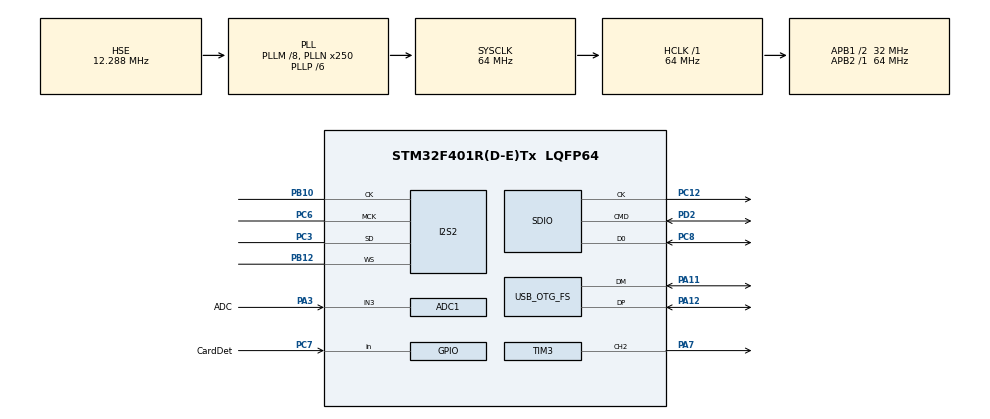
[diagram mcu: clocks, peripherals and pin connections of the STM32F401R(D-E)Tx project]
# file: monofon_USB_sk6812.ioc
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ADC1.Channel-0\#ChannelRegularConversion=ADC_CHANNEL_3
ADC1.ContinuousConvMode=ENABLE
ADC1.NbrOfConversionFlag=1
ADC1.Rank-0\#ChannelRegularConversion=1
ADC1.SamplingTime-0\#ChannelRegularConversion=ADC_SAMPLETIME_3CYCLES
ADC1.master=1
Dma.Request0=SPI2_TX
Dma.Request1=TIM3_CH2
Dma.SPI2_TX.0.Direction=DMA_MEMORY_TO_PERIPH
Dma.SPI2_TX.0.FIFOMode=DMA_FIFOMODE_ENABLE
Dma.SPI2_TX.0.FIFOThreshold=DMA_FIFO_THRESHOLD_FULL
Dma.SPI2_TX.0.Instance=DMA1_Stream4
Dma.SPI2_TX.0.MemBurst=DMA_MBURST_INC8
Dma.SPI2_TX.0.MemDataAlignment=DMA_MDATAALIGN_HALFWORD
Dma.SPI2_TX.0.MemInc=DMA_MINC_ENABLE
Dma.SPI2_TX.0.Mode=DMA_NORMAL
Dma.SPI2_TX.0.PeriphBurst=DMA_PBURST_SINGLE
Dma.SPI2_TX.0.PeriphDataAlignment=DMA_PDATAALIGN_HALFWORD
Dma.SPI2_TX.0.PeriphInc=DMA_PINC_DISABLE
Dma.SPI2_TX.0.Priority=DMA_PRIORITY_MEDIUM
Dma.TIM3_CH2.1.Direction=DMA_MEMORY_TO_PERIPH
Dma.TIM3_CH2.1.FIFOMode=DMA_FIFOMODE_DISABLE
Dma.TIM3_CH2.1.Instance=DMA1_Stream5
Dma.TIM3_CH2.1.MemDataAlignment=DMA_MDATAALIGN_HALFWORD
Dma.TIM3_CH2.1.MemInc=DMA_MINC_ENABLE
Dma.TIM3_CH2.1.Mode=DMA_NORMAL
Dma.TIM3_CH2.1.PeriphDataAlignment=DMA_PDATAALIGN_HALFWORD
Dma.TIM3_CH2.1.PeriphInc=DMA_PINC_DISABLE
Dma.TIM3_CH2.1.Priority=DMA_PRIORITY_LOW
FATFS.BSP.number=1
FATFS._CODE_PAGE=855
FATFS._USE_FIND=1
FATFS._USE_LFN=1
FATFS0.BSP.STBoard=false
FATFS0.BSP.api=Unknown
FATFS0.BSP.i2caddr=0
FATFS0.BSP.instance=PC7
FATFS0.BSP.ip=GPIO
FATFS0.BSP.mode=Input
FATFS0.BSP.name=Detect_SDIO
FATFS0.BSP.solution=PC7
I2S2.AudioFreq=I2S_AUDIOFREQ_48K
I2S2.ErrorAudioFreq=0.0 %
I2S2.FullDuplexMode=I2S_FULLDUPLEXMODE_DISABLE
I2S2.Instance=SPI$Index
I2S2.RealAudioFreq=48.0 KHz
I2S2.VirtualMode=I2S_MODE_MASTER
Mcu.Family=STM32F4
Mcu.Name=STM32F401R(D-E)Tx
Mcu.Package=LQFP64
NVIC.DMA1_Stream4_IRQn=true\:0\:0\:false\:false\:true\:false\:true
NVIC.DMA1_Stream5_IRQn=true\:0\:0\:false\:false\:true\:false\:true
NVIC.OTG_FS_IRQn=true\:0\:0\:false\:false\:true\:false\:true
NVIC.PriorityGroup=NVIC_PRIORITYGROUP_4
NVIC.SPI2_IRQn=true\:0\:0\:false\:false\:true\:true\:true
NVIC.TIM1_UP_TIM10_IRQn=true\:0\:0\:false\:false\:true\:true\:true
PA11.Mode=Device_Only
PA11.Signal=USB_OTG_FS_DM
PA12.Mode=Device_Only
PA12.Signal=USB_OTG_FS_DP
PA13.Mode=Trace_Asynchronous_SW
PA13.Signal=SYS_JTMS-SWDIO
PA14.Mode=Trace_Asynchronous_SW
PA14.Signal=SYS_JTCK-SWCLK
PA3.GPIO_Label=ADC
PA3.Signal=ADCx_IN3
PA7.Signal=S_TIM3_CH2
PB10.Mode=Half_Duplex_Master
PB10.Signal=I2S2_CK
PB12.Mode=Half_Duplex_Master
PB12.Signal=I2S2_WS
PB13.Signal=TIM1_CH1N
PB3.Mode=Trace_Asynchronous_SW
PB3.Signal=SYS_JTDO-SWO
PC12.Mode=SD_1_bit
PC12.Signal=SDIO_CK
PC3.Mode=Half_Duplex_Master
PC3.Signal=I2S2_SD
PC6.GPIO_Speed=GPIO_SPEED_FREQ_MEDIUM
PC6.Mode=Master_Clock_Activated
PC6.Signal=I2S2_MCK
PC7.GPIO_Label=CardDet
PC7.GPIO_PuPd=GPIO_PULLUP
PC7.Signal=GPIO_Input
PC8.Mode=SD_1_bit
PC8.Signal=SDIO_D0
PD2.Mode=SD_1_bit
PD2.Signal=SDIO_CMD
PH0\ -\ OSC_IN.Mode=HSE-External-Oscillator
PH0\ -\ OSC_IN.Signal=RCC_OSC_IN
PH1\ -\ OSC_OUT.Mode=HSE-External-Oscillator
PH1\ -\ OSC_OUT.Signal=RCC_OSC_OUT
ProjectManager.HeapSize=0x4000
ProjectManager.StackSize=0x5000
ProjectManager.TargetToolchain=STM32CubeIDE
RCC.48MHZClocksFreq_Value=48000000
RCC.AHBFreq_Value=64000000
RCC.APB1CLKDivider=RCC_HCLK_DIV2
RCC.APB1Freq_Value=32000000
RCC.APB1TimFreq_Value=64000000
RCC.APB2Freq_Value=64000000
RCC.APB2TimFreq_Value=64000000
RCC.CortexFreq_Value=64000000
RCC.HCLKFreq_Value=64000000
RCC.HSE_VALUE=12288000
RCC.HSI_VALUE=16000000
RCC.LSE_VALUE=32768
RCC.PLLM=8
RCC.PLLN=250
RCC.PLLP=RCC_PLLP_DIV6
RCC.PLLQ=8
RCC.SYSCLKFreq_VALUE=64000000
RCC.SYSCLKSource=RCC_SYSCLKSOURCE_PLLCLK
RCC.VCOOutputFreq_Value=384000000
SDIO.ClockDiv=8
SH.ADCx_IN3.0=ADC1_IN3,IN3
SH.S_TIM3_CH2.0=TIM3_CH2,PWM Generation2 CH2
TIM1.Period=30
TIM1.Prescaler=64000
TIM3.Channel-PWM\ Generation2\ CH2=TIM_CHANNEL_2
TIM3.Period=80
USB_DEVICE.CLASS_NAME_FS=AUDIO
USB_DEVICE.USBD_AUDIO_FREQ-AUDIO_FS=48000
USB_DEVICE.VirtualMode-AUDIO_FS=Audio
USB_DEVICE.VirtualModeFS=Audio_FS
USB_OTG_FS.Sof_enable=ENABLE
USB_OTG_FS.VirtualMode=Device_Only
VP_FATFS_VS_SDIO.Mode=SDIO
VP_TIM1_VS_ClockSourceINT.Mode=Internal
VP_USB_DEVICE_VS_USB_DEVICE_AUDIO_FS.Mode=AUDIO_FS
board=custom

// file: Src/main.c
/* USER CODE BEGIN Header */
/**
 ******************************************************************************
 * @file           : main.c
 * @brief          : Main program body
 ******************************************************************************
 * @attention
 *
 * <h2><center>&copy; Copyright (c) 2020 STMicroelectronics.
 * All rights reserved.</center></h2>
 *
 * This software component is licensed by ST under Ultimate Liberty license
 * SLA0044, the "License"; You may not use this file except in compliance with
 * the License. You may obtain a copy of the License at:
 *                             www.st.com/SLA0044
 *
 ******************************************************************************
 */
/* USER CODE END Header */
#include "main.h"
#include "fatfs.h"
#include "usb_device.h"

/* USER CODE BEGIN Includes */
#include <stdio.h>
#include <math.h>
#include "player.h"
#include "audioplay.h"
#include "ws2812.h"

uint8_t sine_wave[256] = { 0x80, 0x83, 0x86, 0x89, 0x8C, 0x90, 0x93, 0x96, 0x99,
		0x9C, 0x9F, 0xA2, 0xA5, 0xA8, 0xAB, 0xAE, 0xB1, 0xB3, 0xB6, 0xB9, 0xBC,
		0xBF, 0xC1, 0xC4, 0xC7, 0xC9, 0xCC, 0xCE, 0xD1, 0xD3, 0xD5, 0xD8, 0xDA,
		0xDC, 0xDE, 0xE0, 0xE2, 0xE4, 0xE6, 0xE8, 0xEA, 0xEB, 0xED, 0xEF, 0xF0,
		0xF1, 0xF3, 0xF4, 0xF5, 0xF6, 0xF8, 0xF9, 0xFA, 0xFA, 0xFB, 0xFC, 0xFD,
		0xFD, 0xFE, 0xFE, 0xFE, 0xFF, 0xFF, 0xFF, 0xFF, 0xFF, 0xFF, 0xFF, 0xFE,
		0xFE, 0xFE, 0xFD, 0xFD, 0xFC, 0xFB, 0xFA, 0xFA, 0xF9, 0xF8, 0xF6, 0xF5,
		0xF4, 0xF3, 0xF1, 0xF0, 0xEF, 0xED, 0xEB, 0xEA, 0xE8, 0xE6, 0xE4, 0xE2,
		0xE0, 0xDE, 0xDC, 0xDA, 0xD8, 0xD5, 0xD3, 0xD1, 0xCE, 0xCC, 0xC9, 0xC7,
		0xC4, 0xC1, 0xBF, 0xBC, 0xB9, 0xB6, 0xB3, 0xB1, 0xAE, 0xAB, 0xA8, 0xA5,
		0xA2, 0x9F, 0x9C, 0x99, 0x96, 0x93, 0x90, 0x8C, 0x89, 0x86, 0x83, 0x80,
		0x7D, 0x7A, 0x77, 0x74, 0x70, 0x6D, 0x6A, 0x67, 0x64, 0x61, 0x5E, 0x5B,
		0x58, 0x55, 0x52, 0x4F, 0x4D, 0x4A, 0x47, 0x44, 0x41, 0x3F, 0x3C, 0x39,
		0x37, 0x34, 0x32, 0x2F, 0x2D, 0x2B, 0x28, 0x26, 0x24, 0x22, 0x20, 0x1E,
		0x1C, 0x1A, 0x18, 0x16, 0x15, 0x13, 0x11, 0x10, 0x0F, 0x0D, 0x0C, 0x0B,
		0x0A, 0x08, 0x07, 0x06, 0x06, 0x05, 0x04, 0x03, 0x03, 0x02, 0x02, 0x02,
		0x01, 0x01, 0x01, 0x01, 0x01, 0x01, 0x01, 0x02, 0x02, 0x02, 0x03, 0x03,
		0x04, 0x05, 0x06, 0x06, 0x07, 0x08, 0x0A, 0x0B, 0x0C, 0x0D, 0x0F, 0x10,
		0x11, 0x13, 0x15, 0x16, 0x18, 0x1A, 0x1C, 0x1E, 0x20, 0x22, 0x24, 0x26,
		0x28, 0x2B, 0x2D, 0x2F, 0x32, 0x34, 0x37, 0x39, 0x3C, 0x3F, 0x41, 0x44,
		0x47, 0x4A, 0x4D, 0x4F, 0x52, 0x55, 0x58, 0x5B, 0x5E, 0x61, 0x64, 0x67,
		0x6A, 0x6D, 0x70, 0x74, 0x77, 0x7A, 0x7D };

float pixelRad[LED_COUNT];

/* USER CODE END Includes */

ADC_HandleTypeDef hadc1;

I2S_HandleTypeDef hi2s2;
DMA_HandleTypeDef hdma_spi2_tx;

SD_HandleTypeDef hsd;

TIM_HandleTypeDef htim1;
TIM_HandleTypeDef htim3;
DMA_HandleTypeDef hdma_tim3_ch2;

void SystemClock_Config(void);
static void MX_GPIO_Init(void);
static void MX_DMA_Init(void);
static void MX_I2S2_Init(void);
static void MX_SDIO_SD_Init(void);
static void MX_TIM1_Init(void);
static void MX_TIM3_Init(void);
static void MX_ADC1_Init(void);
/* USER CODE BEGIN PFP */
#define MAG_VAL 4
#define MAX_BRIGHT 200

extern USBD_HandleTypeDef hUsbDeviceFS;
uint8_t HID_Buffer[8];

extern uint16_t BUF_DMA[ARRAY_LEN];

RgbColor RGB;

HsvColor HSV;

int ledRefresh = 1;

int effectTick;
float front[LED_COUNT];
int ledBright = 0;

int lightLeds = 0;
int ledStep = 0;

int phoneUp = 0;
int phoneUp_ = 2;

float a = 0;
float b = 0;
float d = 0;

int increment = 400;
int targetBright;

uint32_t adcResult;

/* USER CODE END PFP */

/* USER CODE BEGIN 0 */
/*
 * 	    0x09, 0xb5,                    //   USAGE (Scan Next Track)
 0x09, 0xb6,                    //   USAGE (Scan Previous Track)
 0x09, 0xb7,                    //   USAGE (Stop)
 0x09, 0xb0,                    //   USAGE (Play)
 0x09, 0xe2,                    //   USAGE (Mute)
 0x09, 0xe9,                    //   USAGE (Volume Up)
 0x09, 0xea,                    //   USAGE (Volume Down)
 */

int _write(int file, char *ptr, int len) {

	int i = 0;
	for (i = 0; i < len; i++)
		ITM_SendChar((*ptr++));
	return len;
}

static void hid_send_stop() {
	HID_Buffer[0] = 0;
	HID_Buffer[1] = 0;
	HID_Buffer[2] = 22;
	//HID_Buffer[1]=0x00;
	//HID_Buffer[2]=0;
	USBD_HID_SendReport(&hUsbDeviceFS, HID_Buffer, 8);
	HAL_Delay(20);

	HID_Buffer[0] = 0;
	HID_Buffer[1] = 0;
	HID_Buffer[2] = 0;
	//HID_Buffer[2]=0;
	USBD_HID_SendReport(&hUsbDeviceFS, HID_Buffer, 8);
}
static void hid_send_start() {
	HID_Buffer[0] = 0;
	HID_Buffer[1] = 0;
	HID_Buffer[2] = 19;
	USBD_HID_SendReport(&hUsbDeviceFS, HID_Buffer, 8);
	HAL_Delay(20);

	HID_Buffer[0] = 0;
	HID_Buffer[1] = 0;
	HID_Buffer[2] = 0;
	USBD_HID_SendReport(&hUsbDeviceFS, HID_Buffer, 8);
}

/* USER CODE END 0 */

int main(void)
{

  /* MCU Configuration--------------------------------------------------------*/

  /* Reset of all peripherals, Initializes the Flash interface and the Systick. */
  HAL_Init();

  /* Configure the system clock */
  SystemClock_Config();

  /* Initialize all configured peripherals */
  MX_GPIO_Init();
  MX_DMA_Init();
  MX_USB_DEVICE_Init();
  MX_I2S2_Init();
  MX_SDIO_SD_Init();
  MX_FATFS_Init();
  MX_TIM1_Init();
  MX_TIM3_Init();
  MX_ADC1_Init();
  /* USER CODE BEGIN 2 */

	HAL_TIM_Base_Start_IT(&htim1);

	//-----------------init led--------------------

	ws2812_init();

	RGB.r = 0;
	RGB.g = 0;
	RGB.b = MAX_BRIGHT;

	HSV.h = 0;
	HSV.s = 255;
	HSV.v = MAX_BRIGHT;

	for (int t = 0; t < LED_COUNT; t++) {
		float val = sin((float) (6.28 / LED_COUNT) * (float) t);
		if (val > 0) {
			front[t] = val;
		}
	}

	//-----------------init SDcard--------------------
	init();

  /* USER CODE END 2 */

  /* Infinite loop */
  /* USER CODE BEGIN WHILE */
	while (1) {
		player();

    /* USER CODE END WHILE */

    /* USER CODE BEGIN 3 */
		HAL_Delay(5);

		HAL_ADC_Start(&hadc1);
		HAL_ADC_PollForConversion(&hadc1, 1000);
		adcResult = HAL_ADC_GetValue(&hadc1);
		HAL_ADC_Stop(&hadc1);

		//________CALC_MAGNITUDE_________________________
		a = 0.99 * a + 0.01 * adcResult;
		b = 0.9 * b + 0.1 * adcResult;
		d = a - b;
		if (d > MAG_VAL) {
			phoneUp = 0;
		} else if (d < -MAG_VAL) {
			phoneUp = 1;
		}

		//___________________HID_Sender____________
		if (phoneUp != phoneUp_) {
			if (phoneUp) {
				hid_send_start();

			} else {
				hid_send_stop();

			}
		}
		phoneUp_ = phoneUp;

		if (ledRefresh) {
			//______________________________led_effect______________________
			/*
			 if (HSV.h < 255) {
			 HSV.h++;
			 } else {
			 HSV.h = 0;
			 }
			 RGB = HsvToRgb(HSV);
			 */

			ledRefresh = 0;
			if (phoneUp) {
				for (int i = 0; i < LED_COUNT; i++) {
					ws2812_setPixel_gammaCorrection(RGB.r * front[i],
							RGB.g * front[i], RGB.b * front[i], i);
					//ws2812_pixel_rgb_to_buf_dma(RGB.r * front[i], RGB.g * front[i],RGB.b * front[i], i);
				}
				ws2812_light();
				//HAL_Delay(40);

				//shift front
				float tmp = front[0];
				for (int t = 0; t < (LED_COUNT - 1); t++) {
					front[t] = front[t + 1];
				}
				front[LED_COUNT - 1] = tmp;
			} else {
				for (int i = 0; i < LED_COUNT; i++) {
					ws2812_setPixel_gammaCorrection(RGB.r, RGB.g, RGB.b, i);
					//ws2812_pixel_rgb_to_buf_dma(RGB.r, RGB.g ,RGB.b , i);
				}
				ws2812_light();
				//HAL_Delay(40);

			}

		}
	}
  /* USER CODE END 3 */
}

void SystemClock_Config(void)
{
  RCC_OscInitTypeDef RCC_OscInitStruct = {0};
  RCC_ClkInitTypeDef RCC_ClkInitStruct = {0};
  RCC_PeriphCLKInitTypeDef PeriphClkInitStruct = {0};

  /** Configure the main internal regulator output voltage
  */
  __HAL_RCC_PWR_CLK_ENABLE();
  __HAL_PWR_VOLTAGESCALING_CONFIG(PWR_REGULATOR_VOLTAGE_SCALE2);
  /** Initializes the RCC Oscillators according to the specified parameters
  * in the RCC_OscInitTypeDef structure.
  */
  RCC_OscInitStruct.OscillatorType = RCC_OSCILLATORTYPE_HSE;
  RCC_OscInitStruct.HSEState = RCC_HSE_ON;
  RCC_OscInitStruct.PLL.PLLState = RCC_PLL_ON;
  RCC_OscInitStruct.PLL.PLLSource = RCC_PLLSOURCE_HSE;
  RCC_OscInitStruct.PLL.PLLM = 8;
  RCC_OscInitStruct.PLL.PLLN = 250;
  RCC_OscInitStruct.PLL.PLLP = RCC_PLLP_DIV6;
  RCC_OscInitStruct.PLL.PLLQ = 8;
  if (HAL_RCC_OscConfig(&RCC_OscInitStruct) != HAL_OK)
  {
    Error_Handler();
  }
  /** Initializes the CPU, AHB and APB buses clocks
  */
  RCC_ClkInitStruct.ClockType = RCC_CLOCKTYPE_HCLK|RCC_CLOCKTYPE_SYSCLK
                              |RCC_CLOCKTYPE_PCLK1|RCC_CLOCKTYPE_PCLK2;
  RCC_ClkInitStruct.SYSCLKSource = RCC_SYSCLKSOURCE_PLLCLK;
  RCC_ClkInitStruct.AHBCLKDivider = RCC_SYSCLK_DIV1;
  RCC_ClkInitStruct.APB1CLKDivider = RCC_HCLK_DIV2;
  RCC_ClkInitStruct.APB2CLKDivider = RCC_HCLK_DIV1;

  if (HAL_RCC_ClockConfig(&RCC_ClkInitStruct, FLASH_LATENCY_2) != HAL_OK)
  {
    Error_Handler();
  }
  PeriphClkInitStruct.PeriphClockSelection = RCC_PERIPHCLK_I2S;
  PeriphClkInitStruct.PLLI2S.PLLI2SN = 192;
  PeriphClkInitStruct.PLLI2S.PLLI2SR = 2;
  if (HAL_RCCEx_PeriphCLKConfig(&PeriphClkInitStruct) != HAL_OK)
  {
    Error_Handler();
  }
}

static void MX_ADC1_Init(void)
{

  ADC_ChannelConfTypeDef sConfig = {0};

  /** Configure the global features of the ADC (Clock, Resolution, Data Alignment and number of conversion)
  */
  hadc1.Instance = ADC1;
  hadc1.Init.ClockPrescaler = ADC_CLOCK_SYNC_PCLK_DIV2;
  hadc1.Init.Resolution = ADC_RESOLUTION_12B;
  hadc1.Init.ScanConvMode = DISABLE;
  hadc1.Init.ContinuousConvMode = ENABLE;
  hadc1.Init.DiscontinuousConvMode = DISABLE;
  hadc1.Init.ExternalTrigConvEdge = ADC_EXTERNALTRIGCONVEDGE_NONE;
  hadc1.Init.ExternalTrigConv = ADC_SOFTWARE_START;
  hadc1.Init.DataAlign = ADC_DATAALIGN_RIGHT;
  hadc1.Init.NbrOfConversion = 1;
  hadc1.Init.DMAContinuousRequests = DISABLE;
  hadc1.Init.EOCSelection = ADC_EOC_SINGLE_CONV;
  if (HAL_ADC_Init(&hadc1) != HAL_OK)
  {
    Error_Handler();
  }
  /** Configure for the selected ADC regular channel its corresponding rank in the sequencer and its sample time.
  */
  sConfig.Channel = ADC_CHANNEL_3;
  sConfig.Rank = 1;
  sConfig.SamplingTime = ADC_SAMPLETIME_3CYCLES;
  if (HAL_ADC_ConfigChannel(&hadc1, &sConfig) != HAL_OK)
  {
    Error_Handler();
  }

}

static void MX_I2S2_Init(void)
{

  hi2s2.Instance = SPI2;
  hi2s2.Init.Mode = I2S_MODE_MASTER_TX;
  hi2s2.Init.Standard = I2S_STANDARD_PHILIPS;
  hi2s2.Init.DataFormat = I2S_DATAFORMAT_16B;
  hi2s2.Init.MCLKOutput = I2S_MCLKOUTPUT_ENABLE;
  hi2s2.Init.AudioFreq = I2S_AUDIOFREQ_48K;
  hi2s2.Init.CPOL = I2S_CPOL_LOW;
  hi2s2.Init.ClockSource = I2S_CLOCK_PLL;
  hi2s2.Init.FullDuplexMode = I2S_FULLDUPLEXMODE_DISABLE;
  if (HAL_I2S_Init(&hi2s2) != HAL_OK)
  {
    Error_Handler();
  }

}

static void MX_SDIO_SD_Init(void)
{

  hsd.Instance = SDIO;
  hsd.Init.ClockEdge = SDIO_CLOCK_EDGE_RISING;
  hsd.Init.ClockBypass = SDIO_CLOCK_BYPASS_DISABLE;
  hsd.Init.ClockPowerSave = SDIO_CLOCK_POWER_SAVE_DISABLE;
  hsd.Init.BusWide = SDIO_BUS_WIDE_1B;
  hsd.Init.HardwareFlowControl = SDIO_HARDWARE_FLOW_CONTROL_DISABLE;
  hsd.Init.ClockDiv = 8;

}

static void MX_TIM1_Init(void)
{

  TIM_ClockConfigTypeDef sClockSourceConfig = {0};
  TIM_MasterConfigTypeDef sMasterConfig = {0};

  htim1.Instance = TIM1;
  htim1.Init.Prescaler = 64000;
  htim1.Init.CounterMode = TIM_COUNTERMODE_UP;
  htim1.Init.Period = 30;
  htim1.Init.ClockDivision = TIM_CLOCKDIVISION_DIV1;
  htim1.Init.RepetitionCounter = 0;
  htim1.Init.AutoReloadPreload = TIM_AUTORELOAD_PRELOAD_DISABLE;
  if (HAL_TIM_Base_Init(&htim1) != HAL_OK)
  {
    Error_Handler();
  }
  sClockSourceConfig.ClockSource = TIM_CLOCKSOURCE_INTERNAL;
  if (HAL_TIM_ConfigClockSource(&htim1, &sClockSourceConfig) != HAL_OK)
  {
    Error_Handler();
  }
  sMasterConfig.MasterOutputTrigger = TIM_TRGO_RESET;
  sMasterConfig.MasterSlaveMode = TIM_MASTERSLAVEMODE_DISABLE;
  if (HAL_TIMEx_MasterConfigSynchronization(&htim1, &sMasterConfig) != HAL_OK)
  {
    Error_Handler();
  }

}

static void MX_TIM3_Init(void)
{

  TIM_MasterConfigTypeDef sMasterConfig = {0};
  TIM_OC_InitTypeDef sConfigOC = {0};

  htim3.Instance = TIM3;
  htim3.Init.Prescaler = 0;
  htim3.Init.CounterMode = TIM_COUNTERMODE_UP;
  htim3.Init.Period = 80;
  htim3.Init.ClockDivision = TIM_CLOCKDIVISION_DIV1;
  htim3.Init.AutoReloadPreload = TIM_AUTORELOAD_PRELOAD_DISABLE;
  if (HAL_TIM_PWM_Init(&htim3) != HAL_OK)
  {
    Error_Handler();
  }
  sMasterConfig.MasterOutputTrigger = TIM_TRGO_RESET;
  sMasterConfig.MasterSlaveMode = TIM_MASTERSLAVEMODE_DISABLE;
  if (HAL_TIMEx_MasterConfigSynchronization(&htim3, &sMasterConfig) != HAL_OK)
  {
    Error_Handler();
  }
  sConfigOC.OCMode = TIM_OCMODE_PWM1;
  sConfigOC.Pulse = 0;
  sConfigOC.OCPolarity = TIM_OCPOLARITY_HIGH;
  sConfigOC.OCFastMode = TIM_OCFAST_DISABLE;
  if (HAL_TIM_PWM_ConfigChannel(&htim3, &sConfigOC, TIM_CHANNEL_2) != HAL_OK)
  {
    Error_Handler();
  }
  HAL_TIM_MspPostInit(&htim3);

}

static void MX_DMA_Init(void)
{

  /* DMA controller clock enable */
  __HAL_RCC_DMA1_CLK_ENABLE();

  /* DMA interrupt init */
  /* DMA1_Stream4_IRQn interrupt configuration */
  HAL_NVIC_SetPriority(DMA1_Stream4_IRQn, 0, 0);
  HAL_NVIC_EnableIRQ(DMA1_Stream4_IRQn);
  /* DMA1_Stream5_IRQn interrupt configuration */
  HAL_NVIC_SetPriority(DMA1_Stream5_IRQn, 0, 0);
  HAL_NVIC_EnableIRQ(DMA1_Stream5_IRQn);

}

static void MX_GPIO_Init(void)
{
  GPIO_InitTypeDef GPIO_InitStruct = {0};

  /* GPIO Ports Clock Enable */
  __HAL_RCC_GPIOH_CLK_ENABLE();
  __HAL_RCC_GPIOC_CLK_ENABLE();
  __HAL_RCC_GPIOA_CLK_ENABLE();
  __HAL_RCC_GPIOB_CLK_ENABLE();
  __HAL_RCC_GPIOD_CLK_ENABLE();

  /*Configure GPIO pin : CardDet_Pin */
  GPIO_InitStruct.Pin = CardDet_Pin;
  GPIO_InitStruct.Mode = GPIO_MODE_INPUT;
  GPIO_InitStruct.Pull = GPIO_PULLUP;
  HAL_GPIO_Init(CardDet_GPIO_Port, &GPIO_InitStruct);

}

/* USER CODE BEGIN 4 */
/*
 void HAL_I2S_TxCpltCallback(I2S_HandleTypeDef *hi2s2) {
 if (hi2s2->Instance == I2S2) {
 AudioPlay_TransferComplete_CallBack();
 }
 }
 */
//---------------------------------------------------------
void HAL_I2S_TxHalfCpltCallback(I2S_HandleTypeDef *hi2s2) {
	if (hi2s2->Instance == I2S2) {
		AudioPlay_HalfTransfer_CallBack();
	}
}
/* USER CODE END 4 */

void Error_Handler(void)
{
}

/************************ (C) COPYRIGHT STMicroelectronics *****END OF FILE****/
